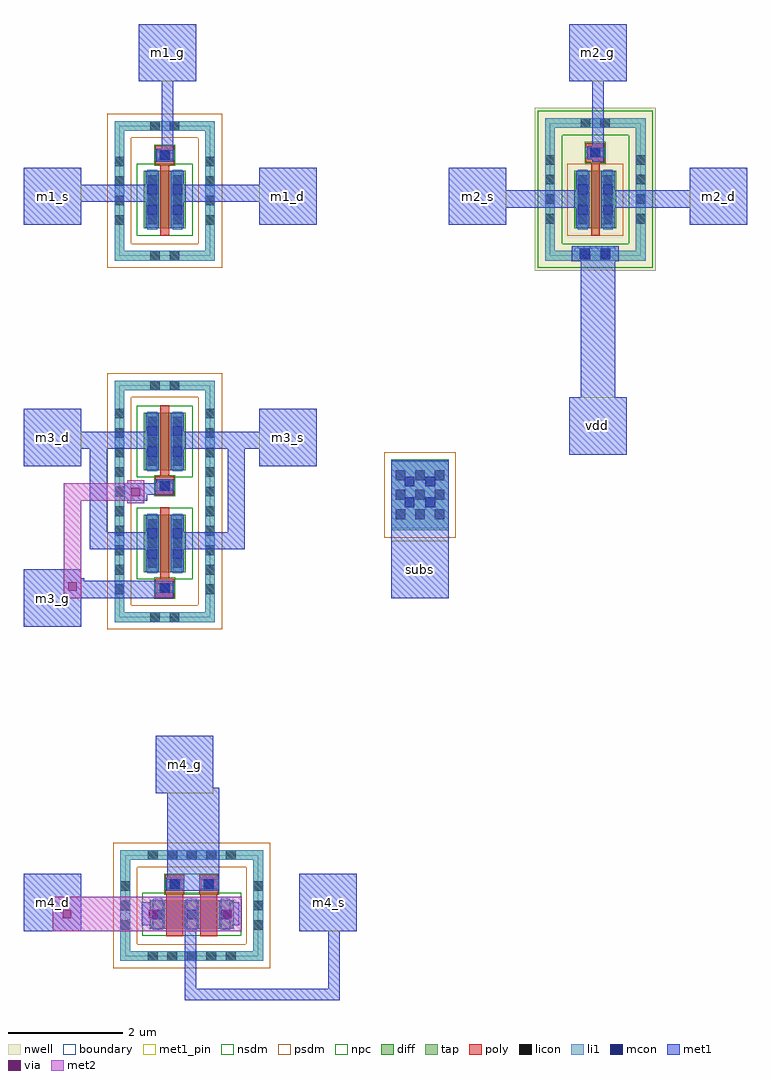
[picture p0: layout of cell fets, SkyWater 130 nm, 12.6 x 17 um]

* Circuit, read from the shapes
.subckt fets m1_d m1_g m1_s m2_d m2_g m2_s m3_d m3_g m3_s m4_d m4_g m4_s subs vdd
XM1 m3_s m3_g m3_d subs sky130_fd_pr__nfet_01v8 w=1 l=0.15 m=2
XM2 m1_d m1_g m1_s subs sky130_fd_pr__nfet_01v8 w=1 l=0.15
XM3 m4_s m4_g m4_d subs sky130_fd_pr__nfet_01v8 w=0.5 l=0.3 m=2
XM4 m2_d m2_g m2_s vdd sky130_fd_pr__pfet_01v8 w=1 l=0.15
.ends

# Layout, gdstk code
import gdstk
lib = gdstk.Library(unit=1e-6, precision=1e-09)
def R(c, l, rs):  # rectangles x0, y0, x1, y1
    for r in rs: c.add(gdstk.rectangle(r[:2], r[2:], *l))
def A(c, l, x, y, w, h, nx, ny, dx, dy):  # array of equal rectangles
    R(c, l, [(x+i*dx, y+j*dy, x+i*dx+w, y+j*dy+h) for i in range(nx) for j in range(ny)])
nwell = (64, 20)
diff = (65, 20)
tap = (65, 44)
poly = (66, 20)
licon = (66, 44)
li1 = (67, 20)
mcon = (67, 44)
met1_pin = (68, 16)
met1 = (68, 20)
via = (68, 44)
met2 = (69, 20)
nsdm = (93, 44)
psdm = (94, 20)
npc = (95, 20)
boundary = (235, 4)

sky130_fd_pr__nfet_01v8_ = lib.new_cell('sky130_fd_pr__nfet_01v8_F7DBYB')
R(sky130_fd_pr__nfet_01v8_, diff, [(-0.735,-0.405,0.735,0.095)])
R(sky130_fd_pr__nfet_01v8_, tap, [(-1.245,-0.965,1.245,-0.795), (-1.245,-0.795,-1.075,0.795), (1.075,-0.795,1.245,0.795), (-1.245,0.795,1.245,0.965)])
R(sky130_fd_pr__nfet_01v8_, poly, [(-0.445,-0.535,-0.145,0.205), (0.145,-0.535,0.445,0.205), (-0.46,0.205,-0.13,0.535), (0.13,0.205,0.46,0.535)])
A(sky130_fd_pr__nfet_01v8_, licon, -0.765, -0.965, 0.17, 0.17, 5, 2, 0.34, 1.76)
A(sky130_fd_pr__nfet_01v8_, licon, -1.245, -0.425, 0.17, 0.17, 1, 3, 0, 0.34)
A(sky130_fd_pr__nfet_01v8_, licon, 1.075, -0.425, 0.17, 0.17, 1, 3, 0, 0.34)
A(sky130_fd_pr__nfet_01v8_, licon, -0.675, -0.24, 0.17, 0.17, 3, 1, 0.59, 0)
R(sky130_fd_pr__nfet_01v8_, licon, [(-0.38,0.285,-0.21,0.455), (0.21,0.285,0.38,0.455)])
A(sky130_fd_pr__nfet_01v8_, li1, -0.675, -0.425, 0.17, 0.54, 3, 1, 0.59, 0)
R(sky130_fd_pr__nfet_01v8_, li1, [(-1.245,-0.965,1.245,-0.795), (-1.245,-0.795,-1.075,0.795), (1.075,-0.795,1.245,0.795), (-0.46,0.285,-0.13,0.455), (0.13,0.285,0.46,0.455), (-1.245,0.795,1.245,0.965)])
A(sky130_fd_pr__nfet_01v8_, mcon, -0.675, -0.24, 0.17, 0.17, 3, 1, 0.59, 0)
R(sky130_fd_pr__nfet_01v8_, mcon, [(-0.38,0.285,-0.21,0.455), (0.21,0.285,0.38,0.455)])
A(sky130_fd_pr__nfet_01v8_, met1, -0.705, -0.405, 0.23, 0.5, 3, 1, 0.59, 0)
R(sky130_fd_pr__nfet_01v8_, met1, [(-0.44,0.255,-0.15,0.485), (0.15,0.255,0.44,0.485)])
R(sky130_fd_pr__nfet_01v8_, nsdm, [(-0.86,-0.53,0.86,0.22)])
R(sky130_fd_pr__nfet_01v8_, psdm, [(-1.37,-1.09,1.37,-0.67), (-1.37,-0.67,-0.95,0.67), (0.95,-0.67,1.37,0.67), (-1.37,0.67,1.37,1.09)])
R(sky130_fd_pr__nfet_01v8_, npc, [(-0.48,0.185,0.48,0.555)])
R(sky130_fd_pr__nfet_01v8_, boundary, [(-1.16,-0.88,1.16,0.88)])

c_sky130_fd_pr__nfet_01v8_ = lib.new_cell('sky130_fd_pr__nfet_01v8_BB6ZKZ')
R(c_sky130_fd_pr__nfet_01v8_, diff, [(-0.365,-1.235,0.365,-0.235), (-0.365,0.545,0.365,1.545)])
R(c_sky130_fd_pr__nfet_01v8_, tap, [(-0.875,-2.105,0.875,-1.935), (-0.875,-1.935,-0.705,1.935), (0.705,-1.935,0.875,1.935), (-0.875,1.935,0.875,2.105)])
R(c_sky130_fd_pr__nfet_01v8_, poly, [(-0.165,-1.675,0.165,-1.345), (-0.075,-1.345,0.075,-0.105), (-0.165,0.105,0.165,0.435), (-0.075,0.435,0.075,1.675)])
A(c_sky130_fd_pr__nfet_01v8_, licon, -0.875, -1.615, 0.17, 0.17, 1, 10, 0, 0.34)
A(c_sky130_fd_pr__nfet_01v8_, licon, 0.705, -1.615, 0.17, 0.17, 1, 10, 0, 0.34)
A(c_sky130_fd_pr__nfet_01v8_, licon, -0.305, -1.16, 0.17, 0.17, 1, 3, 0, 0.34)
A(c_sky130_fd_pr__nfet_01v8_, licon, 0.135, -1.16, 0.17, 0.17, 1, 3, 0, 0.34)
A(c_sky130_fd_pr__nfet_01v8_, licon, -0.305, 0.62, 0.17, 0.17, 1, 3, 0, 0.34)
A(c_sky130_fd_pr__nfet_01v8_, licon, 0.135, 0.62, 0.17, 0.17, 1, 3, 0, 0.34)
R(c_sky130_fd_pr__nfet_01v8_, licon, [(-0.255,-2.105,-0.085,-1.935), (0.085,-2.105,0.255,-1.935), (-0.085,-1.595,0.085,-1.425), (-0.085,0.185,0.085,0.355), (-0.255,1.935,-0.085,2.105), (0.085,1.935,0.255,2.105)])
R(c_sky130_fd_pr__nfet_01v8_, li1, [(-0.875,-2.105,0.875,-1.935), (-0.875,-1.935,-0.705,1.935), (0.705,-1.935,0.875,1.935), (-0.165,-1.595,0.165,-1.425), (-0.305,-1.255,-0.135,-0.215), (0.135,-1.255,0.305,-0.215), (-0.165,0.185,0.165,0.355), (-0.305,0.525,-0.135,1.565), (0.135,0.525,0.305,1.565), (-0.875,1.935,0.875,2.105)])
R(c_sky130_fd_pr__nfet_01v8_, mcon, [(-0.085,-1.595,0.085,-1.425), (-0.305,-1,-0.135,-0.83), (0.135,-1,0.305,-0.83), (-0.305,-0.64,-0.135,-0.47), (0.135,-0.64,0.305,-0.47), (-0.085,0.185,0.085,0.355), (-0.305,0.78,-0.135,0.95), (0.135,0.78,0.305,0.95), (-0.305,1.14,-0.135,1.31), (0.135,1.14,0.305,1.31)])
R(c_sky130_fd_pr__nfet_01v8_, met1, [(-0.145,-1.625,0.145,-1.395), (-0.335,-1.235,-0.105,-0.235), (0.105,-1.235,0.335,-0.235), (-0.145,0.155,0.145,0.385), (-0.335,0.545,-0.105,1.545), (0.105,0.545,0.335,1.545)])
R(c_sky130_fd_pr__nfet_01v8_, nsdm, [(-0.49,-1.36,0.49,-0.11), (-0.49,0.42,0.49,1.67)])
R(c_sky130_fd_pr__nfet_01v8_, psdm, [(-1,-2.23,1,-1.81), (-1,-1.81,-0.58,1.81), (0.58,-1.81,1,1.81), (-1,1.81,1,2.23)])
R(c_sky130_fd_pr__nfet_01v8_, npc, [(-0.185,-1.695,0.185,-1.325), (-0.185,0.085,0.185,0.455)])
R(c_sky130_fd_pr__nfet_01v8_, boundary, [(-0.79,-2.02,0.79,2.02)])

sky130_fd_pr__pfet_01v8_ = lib.new_cell('sky130_fd_pr__pfet_01v8_MGS3BN')
R(sky130_fd_pr__pfet_01v8_, nwell, [(-1.055,-1.42,1.055,1.42)])
R(sky130_fd_pr__pfet_01v8_, diff, [(-0.365,-0.68,0.365,0.32)])
R(sky130_fd_pr__pfet_01v8_, tap, [(-0.875,-1.24,0.875,-1.07), (-0.875,-1.07,-0.705,1.07), (0.705,-1.07,0.875,1.07), (-0.875,1.07,0.875,1.24)])
R(sky130_fd_pr__pfet_01v8_, poly, [(-0.075,-0.81,0.075,0.475), (-0.165,0.475,0.165,0.805)])
A(sky130_fd_pr__pfet_01v8_, licon, -0.305, -0.605, 0.17, 0.17, 1, 3, 0, 0.34)
A(sky130_fd_pr__pfet_01v8_, licon, 0.135, -0.605, 0.17, 0.17, 1, 3, 0, 0.34)
A(sky130_fd_pr__pfet_01v8_, licon, -0.875, -0.595, 0.17, 0.17, 1, 4, 0, 0.34)
A(sky130_fd_pr__pfet_01v8_, licon, 0.705, -0.595, 0.17, 0.17, 1, 4, 0, 0.34)
R(sky130_fd_pr__pfet_01v8_, licon, [(-0.255,-1.24,-0.085,-1.07), (0.085,-1.24,0.255,-1.07), (-0.085,0.555,0.085,0.725), (-0.255,1.07,-0.085,1.24), (0.085,1.07,0.255,1.24)])
R(sky130_fd_pr__pfet_01v8_, li1, [(-0.875,-1.24,0.875,-1.07), (-0.875,-1.07,-0.705,1.07), (0.705,-1.07,0.875,1.07), (-0.305,-0.7,-0.135,0.34), (0.135,-0.7,0.305,0.34), (-0.165,0.555,0.165,0.725), (-0.875,1.07,0.875,1.24)])
R(sky130_fd_pr__pfet_01v8_, mcon, [(-0.305,-0.445,-0.135,-0.275), (0.135,-0.445,0.305,-0.275), (-0.305,-0.085,-0.135,0.085), (0.135,-0.085,0.305,0.085), (-0.085,0.555,0.085,0.725)])
R(sky130_fd_pr__pfet_01v8_, met1, [(-0.335,-0.68,-0.105,0.32), (0.105,-0.68,0.335,0.32), (-0.145,0.525,0.145,0.755)])
R(sky130_fd_pr__pfet_01v8_, nsdm, [(-1,-1.365,1,-0.945), (-1,-0.945,-0.58,0.945), (0.58,-0.945,1,0.945), (-1,0.945,1,1.365)])
R(sky130_fd_pr__pfet_01v8_, psdm, [(-0.49,-0.805,0.49,0.445)])
R(sky130_fd_pr__pfet_01v8_, npc, [(-0.185,0.455,0.185,0.825)])
R(sky130_fd_pr__pfet_01v8_, boundary, [(-0.79,-1.155,0.79,1.155)])

c_sky130_fd_pr__nfet_01v8__ = lib.new_cell('sky130_fd_pr__nfet_01v8_64Z3AY')
R(c_sky130_fd_pr__nfet_01v8__, diff, [(-0.365,-0.655,0.365,0.345)])
R(c_sky130_fd_pr__nfet_01v8__, tap, [(-0.875,-1.215,0.875,-1.045), (-0.875,-1.045,-0.705,1.045), (0.705,-1.045,0.875,1.045), (-0.875,1.045,0.875,1.215)])
R(c_sky130_fd_pr__nfet_01v8__, poly, [(-0.075,-0.785,0.075,0.455), (-0.165,0.455,0.165,0.785)])
A(c_sky130_fd_pr__nfet_01v8__, licon, -0.875, -0.595, 0.17, 0.17, 1, 4, 0, 0.34)
A(c_sky130_fd_pr__nfet_01v8__, licon, 0.705, -0.595, 0.17, 0.17, 1, 4, 0, 0.34)
A(c_sky130_fd_pr__nfet_01v8__, licon, -0.305, -0.58, 0.17, 0.17, 1, 3, 0, 0.34)
A(c_sky130_fd_pr__nfet_01v8__, licon, 0.135, -0.58, 0.17, 0.17, 1, 3, 0, 0.34)
R(c_sky130_fd_pr__nfet_01v8__, licon, [(-0.255,-1.215,-0.085,-1.045), (0.085,-1.215,0.255,-1.045), (-0.085,0.535,0.085,0.705), (-0.255,1.045,-0.085,1.215), (0.085,1.045,0.255,1.215)])
R(c_sky130_fd_pr__nfet_01v8__, li1, [(-0.875,-1.215,0.875,-1.045), (-0.875,-1.045,-0.705,1.045), (0.705,-1.045,0.875,1.045), (-0.305,-0.675,-0.135,0.365), (0.135,-0.675,0.305,0.365), (-0.165,0.535,0.165,0.705), (-0.875,1.045,0.875,1.215)])
R(c_sky130_fd_pr__nfet_01v8__, mcon, [(-0.305,-0.42,-0.135,-0.25), (0.135,-0.42,0.305,-0.25), (-0.305,-0.06,-0.135,0.11), (0.135,-0.06,0.305,0.11), (-0.085,0.535,0.085,0.705)])
R(c_sky130_fd_pr__nfet_01v8__, met1, [(-0.335,-0.655,-0.105,0.345), (0.105,-0.655,0.335,0.345), (-0.145,0.505,0.145,0.735)])
R(c_sky130_fd_pr__nfet_01v8__, nsdm, [(-0.49,-0.78,0.49,0.47)])
R(c_sky130_fd_pr__nfet_01v8__, psdm, [(-1,-1.34,1,-0.92), (-1,-0.92,-0.58,0.92), (0.58,-0.92,1,0.92), (-1,0.92,1,1.34)])
R(c_sky130_fd_pr__nfet_01v8__, npc, [(-0.185,0.435,0.185,0.805)])
R(c_sky130_fd_pr__nfet_01v8__, boundary, [(-0.79,-1.13,0.79,1.13)])

fets = lib.new_cell('fets')
R(fets, tap, [(4.2,6.18,5.2,7.42)])
A(fets, licon, 4.275, 6.375, 0.17, 0.17, 3, 3, 0.34, 0.34)
R(fets, li1, [(4.2,6.22,5.2,7.38), (7.4,10.9,8.1,11.1)])
R(fets, mcon, [(4.435,6.585,4.605,6.755), (4.795,6.585,4.965,6.755), (4.435,6.945,4.605,7.115), (4.795,6.945,4.965,7.115), (7.485,10.915,7.655,11.085), (7.845,10.915,8.015,11.085)])
R(fets, met1_pin, [(-2.2,-0.8,-1.2,0.2), (2.6,-0.8,3.6,0.2), (0.1,1.6,1.1,2.6), (-2.2,4.5,-1.2,5.5), (4.2,5,5.2,6), (-2.2,7.3,-1.2,8.3), (1.9,7.3,2.9,8.3), (7.3,7.5,8.3,8.5), (-2.2,11.5,-1.2,12.5), (1.9,11.5,2.9,12.5), (5.2,11.5,6.2,12.5), (9.4,11.5,10.4,12.5), (-0.2,14,0.8,15), (7.3,14,8.3,15)])
R(fets, met1, [(0.6,-2,3.3,-1.8), (0.6,-1.8,0.8,-0.3), (3.1,-1.8,3.3,-0.8), (-2.2,-0.8,-1.2,0.2), (2.6,-0.8,3.6,0.2), (-0.15,-0.7,0.25,-0.3), (1.2,-0.7,1.55,-0.3), (0.3,-0.1,1.2,1.6), (0.1,1.6,1.2,1.7), (0.1,1.7,1.1,2.6), (-2.2,4.5,-1.2,5), (-2.2,5,0.4,5.3), (4.2,5,5.2,7.4), (-2.2,5.3,-1.15,5.35), (-2.2,5.35,-1.2,5.5), (-1.05,5.85,0.15,6.15), (0.45,5.85,1.65,6.15), (-1.05,6.15,-0.75,7.6), (1.35,6.15,1.65,7.6), (-0.45,6.7,-0.05,6.8), (-0.45,6.8,0.4,7), (-2.2,7.3,-1.2,7.6), (1.9,7.3,2.9,7.6), (7.3,7.5,8.3,8.5), (-2.2,7.6,0.1,7.9), (0.4,7.6,2.9,7.9), (-2.2,7.9,-1.2,8.3), (1.9,7.9,2.9,8.3), (7.5,8.5,8.1,10.87), (7.34,10.87,8.16,11.13), (-2.2,11.5,-1.2,11.9), (1.9,11.5,2.9,11.9), (5.2,11.5,6.2,11.8), (9.4,11.5,10.4,11.8), (5.2,11.8,7.6,12.1), (7.9,11.8,10.4,12.1), (-2.2,11.9,0.1,12.2), (0.4,11.9,2.9,12.2), (5.2,12.1,6.2,12.5), (9.4,12.1,10.4,12.5), (-2.2,12.2,-1.2,12.5), (1.9,12.2,2.9,12.5), (0.2,12.6,0.4,14), (7.7,12.6,7.9,14), (-0.2,14,0.8,15), (7.3,14,8.3,15)])
R(fets, via, [(-1.525,-0.575,-1.375,-0.425), (-0.025,-0.575,0.125,-0.425), (1.275,-0.575,1.425,-0.425), (-1.425,5.125,-1.275,5.275), (-0.325,6.775,-0.175,6.925)])
R(fets, met2, [(-1.7,-0.8,1.6,-0.2), (-1.5,5,-1.2,6.7), (-0.4,6.65,-0.1,6.7), (-1.5,6.7,-0.1,7), (-0.4,7,-0.1,7.05)])
R(fets, psdm, [(4.075,6.055,5.325,7.545)])
fets.add(gdstk.Reference(sky130_fd_pr__nfet_01v8_, (0.725,-0.355)))
fets.add(gdstk.Reference(c_sky130_fd_pr__nfet_01v8_, (0.255,6.685)))
fets.add(gdstk.Reference(sky130_fd_pr__pfet_01v8_, (7.755,12.12)))
fets.add(gdstk.Reference(c_sky130_fd_pr__nfet_01v8__, (0.255,12.095)))
fets.add(gdstk.Label('subs', (4.7,5.5), layer=68, texttype=5))
fets.add(gdstk.Label('vdd', (7.8,8), layer=68, texttype=5))
fets.add(gdstk.Label('m1_d', (2.4,12), layer=68, texttype=5))
fets.add(gdstk.Label('m1_s', (-1.7,12), layer=68, texttype=5))
fets.add(gdstk.Label('m1_g', (0.3,14.5), layer=68, texttype=5))
fets.add(gdstk.Label('m2_s', (5.7,12), layer=68, texttype=5))
fets.add(gdstk.Label('m2_d', (9.9,12), layer=68, texttype=5))
fets.add(gdstk.Label('m2_g', (7.8,14.5), layer=68, texttype=5))
fets.add(gdstk.Label('m3_d', (-1.7,7.8), layer=68, texttype=5))
fets.add(gdstk.Label('m3_s', (2.4,7.8), layer=68, texttype=5))
fets.add(gdstk.Label('m3_g', (-1.7,5), layer=68, texttype=5))
fets.add(gdstk.Label('m4_d', (-1.7,-0.3), layer=68, texttype=5))
fets.add(gdstk.Label('m4_s', (3.1,-0.3), layer=68, texttype=5))
fets.add(gdstk.Label('m4_g', (0.6,2.1), layer=68, texttype=5))

lib.write_gds('fets.gds')
